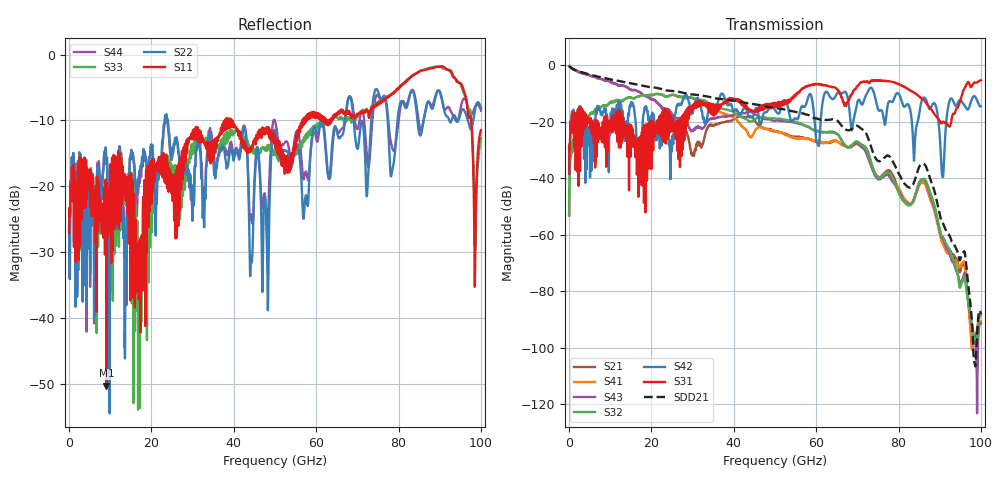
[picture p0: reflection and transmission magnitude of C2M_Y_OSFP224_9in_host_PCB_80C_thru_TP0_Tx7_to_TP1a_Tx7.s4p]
# GHz S RI R 45
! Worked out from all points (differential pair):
!   4000 points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, 25 MHz to 100 GHz, reference 45 ohm
!   strongest paths, dB at 25 MHz, 25.02 GHz, 50.02 GHz, 75.03 GHz, 100 GHz:
!     S31: -38.4, -21.6, -13.5, -5.4, -5.3
!     S42: -38.3, -28.8, -16.0, -15.6, -14.6
!     S32: -53.3, -10.5, -18.9, -39.7, -88.4
!     S43: -0.4, -17.3, -19.7, -40.3, -91.4
!     S41: -53.2, -10.5, -23.3, -40.1, -91.3
!     S21: -0.4, -18.0, -23.4, -39.4, -88.2
!   taken as a pair (ports 3,1 in; 4,2 out), SDD21 dB: -0.4, -9.1, -15.2, -33.9, -88.1
!   lowest |S11| = -50.3 dB at 9.075 GHz (marker M1), VSWR 1.01, Z = 44.8 - j0.206 ohm
!   |S11| at or under -10 dB: start of sweep to 37.91 GHz; 39.44 GHz to 56.63 GHz (17.19 GHz wide, 35.8 % of centre); 97.62 GHz to end of sweep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
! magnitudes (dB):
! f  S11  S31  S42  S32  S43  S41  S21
! 25 MHz  -27.1  -38.4  -38.3  -53.3  -0.4  -53.2  -0.4
! 9.075 GHz  -50.3  -34.8  -18.5  -14.3  -5.4  -14.3  -5.4
! 70.12 GHz  -9.2  -7.2  -12.6  -27.1  -27.8  -28.0  -27.3
! 88.7 GHz  -2.0  -17.3  -13.5  -49.4  -50.5  -51.5  -50.4
! 90.67 GHz  -1.8  -20.1  -39.5  -60.7  -61.3  -63.0  -62.2
! 92.6 GHz  -2.4  -21.2  -12.0  -66.2  -67.6  -67.3  -65.7
! 100 GHz  -11.5  -5.3  -14.6  -88.4  -91.4  -91.3  -88.2
